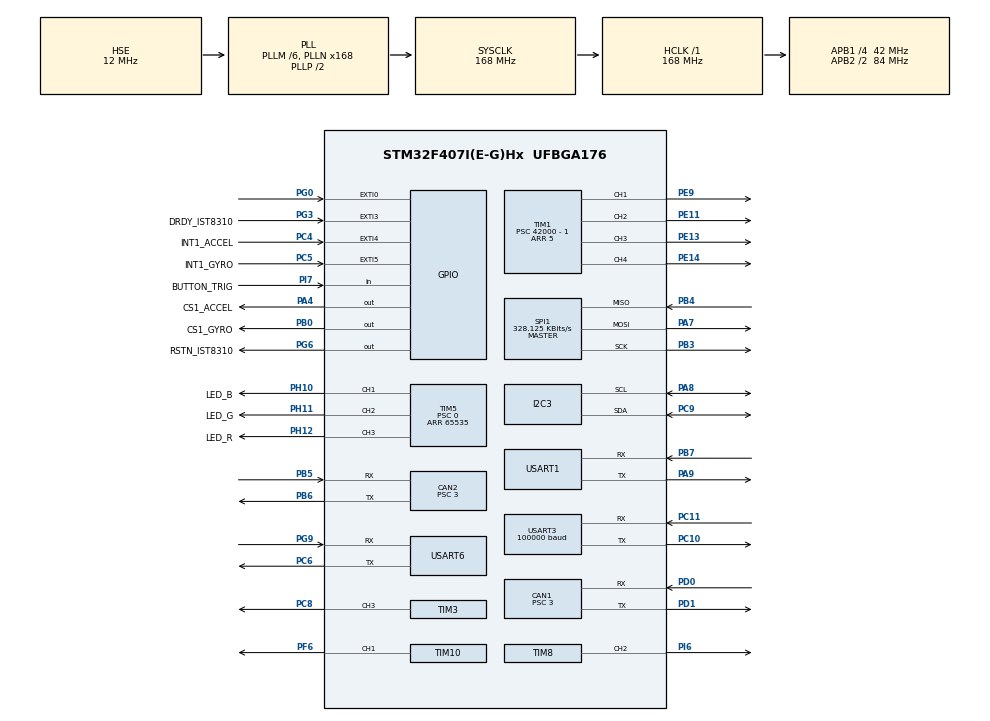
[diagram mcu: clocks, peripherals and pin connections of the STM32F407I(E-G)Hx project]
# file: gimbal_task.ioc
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CAN1.BS1=CAN_BS1_10TQ
CAN1.BS2=CAN_BS2_3TQ
CAN1.CalculateBaudRate=1000000
CAN1.CalculateTimeQuantum=71.42857142857143
CAN1.Prescaler=3
CAN2.BS1=CAN_BS1_10TQ
CAN2.BS2=CAN_BS2_3TQ
CAN2.CalculateBaudRate=1000000
CAN2.CalculateTimeQuantum=71.42857142857143
CAN2.Prescaler=3
Dma.Request0=SPI1_RX
Dma.Request1=SPI1_TX
Dma.Request2=USART3_RX
Dma.Request3=USART6_TX
Dma.SPI1_RX.0.Direction=DMA_PERIPH_TO_MEMORY
Dma.SPI1_RX.0.FIFOMode=DMA_FIFOMODE_DISABLE
Dma.SPI1_RX.0.Instance=DMA2_Stream2
Dma.SPI1_RX.0.MemDataAlignment=DMA_MDATAALIGN_BYTE
Dma.SPI1_RX.0.MemInc=DMA_MINC_ENABLE
Dma.SPI1_RX.0.Mode=DMA_NORMAL
Dma.SPI1_RX.0.PeriphDataAlignment=DMA_PDATAALIGN_BYTE
Dma.SPI1_RX.0.PeriphInc=DMA_PINC_DISABLE
Dma.SPI1_RX.0.Priority=DMA_PRIORITY_VERY_HIGH
Dma.SPI1_TX.1.Direction=DMA_MEMORY_TO_PERIPH
Dma.SPI1_TX.1.FIFOMode=DMA_FIFOMODE_DISABLE
Dma.SPI1_TX.1.Instance=DMA2_Stream3
Dma.SPI1_TX.1.MemDataAlignment=DMA_MDATAALIGN_BYTE
Dma.SPI1_TX.1.MemInc=DMA_MINC_ENABLE
Dma.SPI1_TX.1.Mode=DMA_NORMAL
Dma.SPI1_TX.1.PeriphDataAlignment=DMA_PDATAALIGN_BYTE
Dma.SPI1_TX.1.PeriphInc=DMA_PINC_DISABLE
Dma.SPI1_TX.1.Priority=DMA_PRIORITY_HIGH
Dma.USART3_RX.2.Direction=DMA_PERIPH_TO_MEMORY
Dma.USART3_RX.2.FIFOMode=DMA_FIFOMODE_DISABLE
Dma.USART3_RX.2.Instance=DMA1_Stream1
Dma.USART3_RX.2.MemDataAlignment=DMA_MDATAALIGN_BYTE
Dma.USART3_RX.2.MemInc=DMA_MINC_ENABLE
Dma.USART3_RX.2.Mode=DMA_NORMAL
Dma.USART3_RX.2.PeriphDataAlignment=DMA_PDATAALIGN_BYTE
Dma.USART3_RX.2.PeriphInc=DMA_PINC_DISABLE
Dma.USART3_RX.2.Priority=DMA_PRIORITY_HIGH
Dma.USART6_TX.3.Direction=DMA_MEMORY_TO_PERIPH
Dma.USART6_TX.3.FIFOMode=DMA_FIFOMODE_ENABLE
Dma.USART6_TX.3.FIFOThreshold=DMA_FIFO_THRESHOLD_FULL
Dma.USART6_TX.3.Instance=DMA2_Stream6
Dma.USART6_TX.3.MemBurst=DMA_MBURST_SINGLE
Dma.USART6_TX.3.MemDataAlignment=DMA_MDATAALIGN_BYTE
Dma.USART6_TX.3.MemInc=DMA_MINC_ENABLE
Dma.USART6_TX.3.Mode=DMA_NORMAL
Dma.USART6_TX.3.PeriphBurst=DMA_PBURST_SINGLE
Dma.USART6_TX.3.PeriphDataAlignment=DMA_PDATAALIGN_BYTE
Dma.USART6_TX.3.PeriphInc=DMA_PINC_DISABLE
Dma.USART6_TX.3.Priority=DMA_PRIORITY_LOW
FREERTOS.INCLUDE_eTaskGetState=1
FREERTOS.INCLUDE_pcTaskGetTaskName=1
FREERTOS.INCLUDE_uxTaskGetStackHighWaterMark=1
FREERTOS.INCLUDE_vTaskCleanUpResources=1
FREERTOS.INCLUDE_vTaskDelayUntil=1
FREERTOS.INCLUDE_xEventGroupSetBitFromISR=1
FREERTOS.INCLUDE_xQueueGetMutexHolder=1
FREERTOS.INCLUDE_xSemaphoreGetMutexHolder=1
FREERTOS.INCLUDE_xTaskAbortDelay=1
FREERTOS.INCLUDE_xTaskGetCurrentTaskHandle=1
FREERTOS.INCLUDE_xTaskGetHandle=1
FREERTOS.INCLUDE_xTimerPendFunctionCall=1
FREERTOS.Tasks01=test,0,128,test_task,As weak,NULL,Dynamic,NULL,NULL;HeartBeat,-2,128,Odrive_HeatBeat,Default,NULL,Dynamic,NULL,NULL
FREERTOS.configTOTAL_HEAP_SIZE=24576
I2C3.I2C_Mode=I2C_Fast
Mcu.Family=STM32F4
Mcu.Name=STM32F407I(E-G)Hx
Mcu.Package=UFBGA176
NVIC.CAN1_RX0_IRQn=true\:6\:0\:true\:false\:true\:true\:true\:true\:true
NVIC.CAN2_RX0_IRQn=true\:6\:0\:true\:false\:true\:true\:true\:true\:true
NVIC.DMA1_Stream1_IRQn=true\:5\:0\:true\:false\:false\:true\:false\:false\:true
NVIC.DMA2_Stream2_IRQn=true\:5\:0\:true\:false\:false\:true\:false\:true\:true
NVIC.DMA2_Stream3_IRQn=true\:5\:0\:true\:false\:false\:true\:false\:true\:true
NVIC.DMA2_Stream6_IRQn=true\:5\:0\:false\:false\:true\:true\:false\:true\:true
NVIC.EXTI0_IRQn=true\:6\:0\:true\:false\:true\:true\:true\:true\:true
NVIC.EXTI3_IRQn=true\:5\:0\:true\:false\:true\:true\:true\:true\:true
NVIC.EXTI4_IRQn=true\:5\:0\:true\:false\:true\:true\:true\:true\:true
NVIC.EXTI9_5_IRQn=true\:5\:0\:true\:false\:true\:true\:true\:true\:true
NVIC.PriorityGroup=NVIC_PRIORITYGROUP_4
NVIC.TIM1_UP_TIM10_IRQn=true\:5\:0\:false\:false\:true\:true\:true\:true\:true
NVIC.TIM7_IRQn=true\:5\:0\:false\:false\:true\:true\:true\:true\:true
NVIC.USART3_IRQn=true\:4\:0\:true\:false\:false\:false\:true\:true\:true
PA13.Mode=Serial_Wire
PA13.Signal=SYS_JTMS-SWDIO
PA14.Mode=Serial_Wire
PA14.Signal=SYS_JTCK-SWCLK
PA4.GPIO_Label=CS1_ACCEL
PA4.GPIO_PuPd=GPIO_PULLUP
PA4.GPIO_Speed=GPIO_SPEED_FREQ_HIGH
PA4.PinState=GPIO_PIN_SET
PA4.Signal=GPIO_Output
PA7.GPIO_PuPd=GPIO_PULLUP
PA7.Mode=Full_Duplex_Master
PA7.Signal=SPI1_MOSI
PA8.GPIO_Pu=GPIO_PULLUP
PA8.Mode=I2C
PA8.Signal=I2C3_SCL
PA9.Mode=Asynchronous
PA9.Signal=USART1_TX
PB0.GPIO_Label=CS1_GYRO
PB0.GPIO_PuPd=GPIO_PULLUP
PB0.GPIO_Speed=GPIO_SPEED_FREQ_HIGH
PB0.PinState=GPIO_PIN_SET
PB0.Signal=GPIO_Output
PB3.GPIO_PuPd=GPIO_PULLUP
PB3.Mode=Full_Duplex_Master
PB3.Signal=SPI1_SCK
PB4.GPIO_PuPd=GPIO_PULLUP
PB4.Mode=Full_Duplex_Master
PB4.Signal=SPI1_MISO
PB5.Mode=CAN_Activate
PB5.Signal=CAN2_RX
PB6.Mode=CAN_Activate
PB6.Signal=CAN2_TX
PB7.Mode=Asynchronous
PB7.Signal=USART1_RX
PC10.Mode=Asynchronous
PC10.Signal=USART3_TX
PC11.Mode=Asynchronous
PC11.Signal=USART3_RX
PC4.GPIO_Label=INT1_ACCEL
PC4.GPIO_ModeDefaultEXTI=GPIO_MODE_IT_FALLING
PC4.GPIO_PuPd=GPIO_PULLUP
PC4.Signal=GPXTI4
PC5.GPIO_Label=INT1_GYRO
PC5.GPIO_ModeDefaultEXTI=GPIO_MODE_IT_FALLING
PC5.GPIO_PuPd=GPIO_PULLUP
PC5.Signal=GPXTI5
PC6.Mode=Asynchronous
PC6.Signal=USART6_TX
PC8.GPIO_PuPd=GPIO_PULLUP
PC8.GPIO_Speed=GPIO_SPEED_FREQ_HIGH
PC8.Signal=S_TIM3_CH3
PC9.GPIO_Pu=GPIO_PULLUP
PC9.Mode=I2C
PC9.Signal=I2C3_SDA
PD0.Mode=CAN_Activate
PD0.Signal=CAN1_RX
PD1.Mode=CAN_Activate
PD1.Signal=CAN1_TX
PD14.GPIO_Speed=GPIO_SPEED_FREQ_HIGH
PD14.Signal=S_TIM4_CH3
PE11.GPIO_PuPd=GPIO_PULLUP
PE11.GPIO_Speed=GPIO_SPEED_FREQ_HIGH
PE11.Signal=S_TIM1_CH2
PE13.GPIO_PuPd=GPIO_PULLUP
PE13.GPIO_Speed=GPIO_SPEED_FREQ_HIGH
PE13.Signal=S_TIM1_CH3
PE14.GPIO_PuPd=GPIO_PULLUP
PE14.GPIO_Speed=GPIO_SPEED_FREQ_HIGH
PE14.Signal=S_TIM1_CH4
PE9.GPIO_PuPd=GPIO_PULLUP
PE9.GPIO_Speed=GPIO_SPEED_FREQ_HIGH
PE9.Signal=S_TIM1_CH1
PF6.GPIO_PuPd=GPIO_PULLUP
PF6.GPIO_Speed=GPIO_SPEED_FREQ_HIGH
PF6.Signal=S_TIM10_CH1
PG0.GPIO_ModeDefaultEXTI=GPIO_MODE_IT_FALLING
PG0.GPIO_PuPd=GPIO_PULLUP
PG0.Signal=GPXTI0
PG3.GPIO_Label=DRDY_IST8310
PG3.GPIO_ModeDefaultEXTI=GPIO_MODE_IT_FALLING
PG3.GPIO_PuPd=GPIO_PULLUP
PG3.Signal=GPXTI3
PG6.GPIO_Label=RSTN_IST8310
PG6.GPIO_PuPd=GPIO_PULLUP
PG6.GPIO_Speed=GPIO_SPEED_FREQ_MEDIUM
PG6.PinState=GPIO_PIN_SET
PG6.Signal=GPIO_Output
PG9.Mode=Asynchronous
PG9.Signal=USART6_RX
PH0-OSC_IN.Mode=HSE-External-Oscillator
PH0-OSC_IN.Signal=RCC_OSC_IN
PH1-OSC_OUT.Mode=HSE-External-Oscillator
PH1-OSC_OUT.Signal=RCC_OSC_OUT
PH10.GPIO_Label=LED_B
PH10.GPIO_PuPd=GPIO_PULLUP
PH10.GPIO_Speed=GPIO_SPEED_FREQ_HIGH
PH10.Signal=S_TIM5_CH1
PH11.GPIO_Label=LED_G
PH11.GPIO_PuPd=GPIO_PULLUP
PH11.GPIO_Speed=GPIO_SPEED_FREQ_HIGH
PH11.Signal=S_TIM5_CH2
PH12.GPIO_Label=LED_R
PH12.GPIO_PuPd=GPIO_PULLUP
PH12.GPIO_Speed=GPIO_SPEED_FREQ_HIGH
PH12.Signal=S_TIM5_CH3
PI6.GPIO_PuPd=GPIO_PULLUP
PI6.GPIO_Speed=GPIO_SPEED_FREQ_HIGH
PI6.Signal=S_TIM8_CH2
PI7.GPIO_Label=BUTTON_TRIG
PI7.GPIO_PuPd=GPIO_PULLUP
PI7.Signal=GPIO_Input
ProjectManager.HeapSize=0x2000
ProjectManager.StackSize=0x2000
ProjectManager.TargetToolchain=MDK-ARM V5
RCC.48MHZClocksFreq_Value=48000000
RCC.AHBFreq_Value=168000000
RCC.APB1CLKDivider=RCC_HCLK_DIV4
RCC.APB1Freq_Value=42000000
RCC.APB1TimFreq_Value=84000000
RCC.APB2CLKDivider=RCC_HCLK_DIV2
RCC.APB2Freq_Value=84000000
RCC.APB2TimFreq_Value=168000000
RCC.CortexFreq_Value=168000000
RCC.HCLKFreq_Value=168000000
RCC.HSE_VALUE=12000000
RCC.HSI_VALUE=16000000
RCC.LSE_VALUE=32768
RCC.PLLM=6
RCC.PLLN=168
RCC.PLLQ=7
RCC.PLLSourceVirtual=RCC_PLLSOURCE_HSE
RCC.RCC_RTC_Clock_SourceVirtual=RCC_RTCCLKSOURCE_HSE_DIV30
RCC.RCC_RTC_Clock_Source_FROM_HSE=RCC_RTCCLKSOURCE_HSE_DIV30
RCC.SYSCLKFreq_VALUE=168000000
RCC.SYSCLKSource=RCC_SYSCLKSOURCE_PLLCLK
RCC.VCOOutputFreq_Value=336000000
RTC.AsynchPrediv=124
RTC.SynchPrediv=3199
SH.S_TIM10_CH1.0=TIM10_CH1,PWM Generation1 CH1
SH.S_TIM1_CH1.0=TIM1_CH1,PWM Generation1 CH1
SH.S_TIM1_CH2.0=TIM1_CH2,PWM Generation2 CH2
SH.S_TIM1_CH3.0=TIM1_CH3,PWM Generation3 CH3
SH.S_TIM1_CH4.0=TIM1_CH4,PWM Generation4 CH4
SH.S_TIM3_CH3.0=TIM3_CH3,PWM Generation3 CH3
SH.S_TIM4_CH3.0=TIM4_CH3
SH.S_TIM5_CH1.0=TIM5_CH1,PWM Generation1 CH1
SH.S_TIM5_CH2.0=TIM5_CH2,PWM Generation2 CH2
SH.S_TIM5_CH3.0=TIM5_CH3,PWM Generation3 CH3
SH.S_TIM8_CH2.0=TIM8_CH2,PWM Generation2 CH2
SPI1.BaudRatePrescaler=SPI_BAUDRATEPRESCALER_256
SPI1.CLKPhase=SPI_PHASE_2EDGE
SPI1.CLKPolarity=SPI_POLARITY_HIGH
SPI1.CalculateBaudRate=328.125 KBits/s
SPI1.Direction=SPI_DIRECTION_2LINES
SPI1.Mode=SPI_MODE_MASTER
SPI1.VirtualType=VM_MASTER
TIM1.Channel-PWM\ Generation1\ CH1=TIM_CHANNEL_1
TIM1.Channel-PWM\ Generation2\ CH2=TIM_CHANNEL_2
TIM1.Channel-PWM\ Generation3\ CH3=TIM_CHANNEL_3
TIM1.Channel-PWM\ Generation4\ CH4=TIM_CHANNEL_4
TIM1.ClockDivision=TIM_CLOCKDIVISION_DIV4
TIM1.Period=5
TIM1.Prescaler=42000 - 1
TIM1.Pulse-PWM\ Generation1\ CH1=1000
TIM1.Pulse-PWM\ Generation2\ CH2=1000
TIM1.Pulse-PWM\ Generation3\ CH3=1000
TIM1.Pulse-PWM\ Generation4\ CH4=1000
TIM10.Channel=TIM_CHANNEL_1
TIM10.Period=4999
TIM3.Channel-PWM\ Generation3\ CH3=TIM_CHANNEL_3
TIM3.Period=8399
TIM4.Period=65535
TIM4.Prescaler=167
TIM5.Channel-PWM\ Generation1\ CH1=TIM_CHANNEL_1
TIM5.Channel-PWM\ Generation2\ CH2=TIM_CHANNEL_2
TIM5.Channel-PWM\ Generation3\ CH3=TIM_CHANNEL_3
TIM5.Period=65535
TIM5.Prescaler=0
TIM7.Period=1000-1
TIM7.Prescaler=84-1
TIM8.Channel-PWM\ Generation1\ CH1=TIM_CHANNEL_1
TIM8.Channel-PWM\ Generation2\ CH2=TIM_CHANNEL_2
TIM8.Period=19999
TIM8.Prescaler=167
TIM8.Pulse-PWM\ Generation1\ CH1=1000
TIM8.Pulse-PWM\ Generation2\ CH2=1000
USART1.VirtualMode=VM_ASYNC
USART3.BaudRate=100000
USART3.Parity=PARITY_EVEN
USART3.VirtualMode=VM_ASYNC
USART6.VirtualMode=VM_ASYNC
VP_FREERTOS_VS_CMSIS_V1.Mode=CMSIS_V1
VP_RTC_VS_RTC_Activate.Mode=RTC_Enabled
VP_TIM10_VS_ClockSourceINT.Mode=Enable_Timer
VP_TIM1_VS_ClockSourceINT.Mode=Internal
VP_TIM3_VS_ClockSourceINT.Mode=Internal
VP_TIM4_VS_ClockSourceINT.Mode=Internal
VP_TIM5_VS_ClockSourceINT.Mode=Internal
VP_TIM7_VS_ClockSourceINT.Mode=Enable_Timer
VP_TIM8_VS_ClockSourceINT.Mode=Internal
board=custom

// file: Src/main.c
/* USER CODE BEGIN Header */
/**
 ******************************************************************************
 * @file           : main.c
 * @brief          : Main program body
 ******************************************************************************
 * @attention
 *
 * <h2><center>&copy; Copyright (c) 2019 STMicroelectronics.
 * All rights reserved.</center></h2>
 *
 * This software component is licensed by ST under Ultimate Liberty license
 * SLA0044, the "License"; You may not use this file except in compliance with
 * the License. You may obtain a copy of the License at:
 *                             www.st.com/SLA0044
 *
 ******************************************************************************
 */
/* USER CODE END Header */
#include "main.h"
#include "cmsis_os.h"
#include "can.h"
#include "dma.h"
#include "i2c.h"
#include "rtc.h"
#include "spi.h"
#include "tim.h"
#include "usart.h"
#include "gpio.h"

/* USER CODE BEGIN Includes */
#include "bsp_delay.h"
#include "bsp_can.h"
#include "remote_control.h"
#include "calibrate_task.h"
#include "detect_task.h"
#include "gimbal_task.h"
#include "INS_task.h"
#include "led_flow_task.h"
#include "arm_math.h"
#include "CAN_receive.h"
#include "motor.h"

#include "math.h"
// #include "motor.h"

#include <stdio.h>
/* USER CODE END Includes */

/* USER CODE BEGIN PM */
extern void aRGB_led_show(uint32_t aRGB);
extern arm_pid_instance_f32 S_pos, S_vel, S_ang;

/* USER CODE END PM */

/* USER CODE BEGIN PV */
#define MAX_I_OUT  10000

arm_pid_instance_f32 angle_pid = {
  .Kp = 15.0,
  .Ki = 0.001,
  .Kd = 10.0
};
arm_pid_instance_f32 speed_pid = {
  .Kp = 10.0,
  .Ki = 0.001,
  .Kd = 0.5
};

void speed_control(Motor * motor){
	float speed_err;
	int I_out;

	speed_err = motor->target_speed - motor->speed;
	I_out = arm_pid_f32(&speed_pid, speed_err);
	I_out = (I_out > 10000) ? 10000 : (I_out < -10000) ? -10000 : I_out;
	CAN_cmd_gimbal(I_out, 0, 0, 0);
}

void angle_control(Motor * motor){
  float angle_err;
  float speed_out;
  float speed_err;
  int32_t I_out;

  angle_err = (motor->target_angle - motor->absolute_angle);
  speed_out = arm_pid_f32(&angle_pid, angle_err); // 输出期望速度

  speed_out = (speed_out > 1300) ? 1300 : (speed_out < -1300) ? -1300 : speed_out;

  speed_err = speed_out - motor->speed;
  I_out = (int32_t)(arm_pid_f32(&speed_pid,speed_err));
	// I_out = (I_out >= 0.0f ? 1 : -1) * 3500.0f * sqrtf(fabs(I_out / 3500.0f));
  I_out = (I_out > MAX_I_OUT) ? MAX_I_OUT : (I_out < -MAX_I_OUT) ? -MAX_I_OUT : I_out;

	CAN_cmd_gimbal(I_out, 0, 0, 0);
}

Motor Catcher = {
  .Base_Angle= 0,
  .Tar_Angle = 160
};
static uint8_t is_catcher_Init = 0;
static float last_angle;

extern void yuntai_pid(void);
extern float angle_in_deg[];
static uint8_t is_yuntai_ready_for_work = 0;
void HAL_TIM_PeriodElapsedCallback(TIM_HandleTypeDef * htim)
{
  /* Prevent unused argument(s) compilation warning */
  UNUSED(htim);
  if (htim->Instance == htim7.Instance)
  {
    /* 云台3508位控部分 */
    if (is_yuntai_ready_for_work == 0 && angle_in_deg[2] < -2.f){
      is_yuntai_ready_for_work = 1;
    }else if(is_yuntai_ready_for_work == 1){
      yuntai_pid();
    }

    /* 推杆2006位控部分 */
		if(is_catcher_Init != 1){
			static uint16_t i = 0;
			Catcher.target_speed = -1000;
			speed_control(&Catcher);
			if(i < 4000)
			{
				i++;
			}
			else
			{
				if(fabsf(Catcher.speed) < 10.f){
          is_catcher_Init = 1;
          Catcher.target_speed = 0;
          Catcher.Base_Angle = Catcher.absolute_angle;
				}
			}
		}else {
			Catcher.target_angle = Catcher.Tar_Angle * 36 + Catcher.Base_Angle; // 小齿轮分度圆直径
			angle_control(&Catcher);
		}
  }
}

union odrive_speed_cmd
{
  uint8_t data[8];
  float output[2];
};
/* USER CODE END PV */

void SystemClock_Config(void);
void MX_FREERTOS_Init(void);

/* USER CODE BEGIN 0 */
extern void orive_set_speed(int speed);
/* USER CODE END 0 */

int main(void)
{

  /* MCU Configuration--------------------------------------------------------*/

  /* Reset of all peripherals, Initializes the Flash interface and the Systick. */
  HAL_Init();

  /* Configure the system clock */
  SystemClock_Config();

  /* Initialize all configured peripherals */
  MX_GPIO_Init();
  MX_DMA_Init();
  MX_CAN1_Init();
  MX_CAN2_Init();
  MX_SPI1_Init();
  MX_TIM4_Init();
  MX_TIM5_Init();
  MX_USART3_UART_Init();
  MX_TIM8_Init();
  MX_I2C3_Init();
  MX_RTC_Init();
  MX_TIM1_Init();
  MX_TIM3_Init();
  MX_TIM10_Init();
  MX_TIM7_Init();
  MX_USART6_UART_Init();
  MX_USART1_UART_Init();
  /* USER CODE BEGIN 2 */
  can_filter_init();
  delay_init();
  cali_param_init();
  remote_control_init();
  arm_pid_init_f32(&S_pos, 1);
  arm_pid_init_f32(&S_vel, 1);
  arm_pid_init_f32(&S_ang, 1);

  arm_pid_init_f32(&angle_pid, 1);
  arm_pid_init_f32(&speed_pid, 1);
  // aRGB_led_show(0xFF00FF00);
  HAL_Delay(200);
  HAL_TIM_Base_Start_IT(&htim7);

	// HAL_TIM_Base_Start_IT(&htim1);
//	HAL_TIM_RegisterCallback(&htim1, HAL_TIM_PERIOD_ELAPSED_CB_ID, Yuntai_CatcherCallBack);

  // orive_set_speed(20);
  // HAL_UART_Transmit(&huart3, (uint8_t *)"hello\r\n", 7, 100);
  /* USER CODE END 2 */

  /* Call init function for freertos objects (in freertos.c) */
  MX_FREERTOS_Init();

  /* Start scheduler */
  osKernelStart();

  /* We should never get here as control is now taken by the scheduler */
  /* Infinite loop */
  while (1)
  {

  }
}

void SystemClock_Config(void)
{
  RCC_OscInitTypeDef RCC_OscInitStruct = {0};
  RCC_ClkInitTypeDef RCC_ClkInitStruct = {0};

  /** Configure the main internal regulator output voltage
  */
  __HAL_RCC_PWR_CLK_ENABLE();
  __HAL_PWR_VOLTAGESCALING_CONFIG(PWR_REGULATOR_VOLTAGE_SCALE1);

  /** Initializes the RCC Oscillators according to the specified parameters
  * in the RCC_OscInitTypeDef structure.
  */
  RCC_OscInitStruct.OscillatorType = RCC_OSCILLATORTYPE_HSE;
  RCC_OscInitStruct.HSEState = RCC_HSE_ON;
  RCC_OscInitStruct.PLL.PLLState = RCC_PLL_ON;
  RCC_OscInitStruct.PLL.PLLSource = RCC_PLLSOURCE_HSE;
  RCC_OscInitStruct.PLL.PLLM = 6;
  RCC_OscInitStruct.PLL.PLLN = 168;
  RCC_OscInitStruct.PLL.PLLP = RCC_PLLP_DIV2;
  RCC_OscInitStruct.PLL.PLLQ = 7;
  if (HAL_RCC_OscConfig(&RCC_OscInitStruct) != HAL_OK)
  {
    Error_Handler();
  }

  /** Initializes the CPU, AHB and APB buses clocks
  */
  RCC_ClkInitStruct.ClockType = RCC_CLOCKTYPE_HCLK|RCC_CLOCKTYPE_SYSCLK
                              |RCC_CLOCKTYPE_PCLK1|RCC_CLOCKTYPE_PCLK2;
  RCC_ClkInitStruct.SYSCLKSource = RCC_SYSCLKSOURCE_PLLCLK;
  RCC_ClkInitStruct.AHBCLKDivider = RCC_SYSCLK_DIV1;
  RCC_ClkInitStruct.APB1CLKDivider = RCC_HCLK_DIV4;
  RCC_ClkInitStruct.APB2CLKDivider = RCC_HCLK_DIV2;

  if (HAL_RCC_ClockConfig(&RCC_ClkInitStruct, FLASH_LATENCY_5) != HAL_OK)
  {
    Error_Handler();
  }
}

void Error_Handler(void)
{
}

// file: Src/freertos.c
/* USER CODE BEGIN Header */
/**
  ******************************************************************************
  * File Name          : freertos.c
  * Description        : Code for freertos applications
  ******************************************************************************
  * @attention
  *
  * <h2><center>&copy; Copyright (c) 2019 STMicroelectronics.
  * All rights reserved.</center></h2>
  *
  * This software component is licensed by ST under Ultimate Liberty license
  * SLA0044, the "License"; You may not use this file except in compliance with
  * the License. You may obtain a copy of the License at:
  *                             www.st.com/SLA0044
  *
  ******************************************************************************
  */
/* USER CODE END Header */

#include "FreeRTOS.h"
#include "task.h"
#include "main.h"
#include "cmsis_os.h"

/* USER CODE BEGIN Includes */

#include "calibrate_task.h"
#include "detect_task.h"
#include "gimbal_task.h"
#include "INS_task.h"
#include "led_flow_task.h"

#include <math.h>
#include "arm_math.h"
#include "odrive.h"
/* USER CODE END Includes */

/* USER CODE BEGIN PTD */

osThreadId calibrate_tast_handle;
osThreadId detect_handle;
osThreadId gimbalTaskHandle;
osThreadId imuTaskHandle;
osThreadId led_RGB_flow_handle;
osThreadId CylinderControlHandle;

/* USER CODE END PTD */

osThreadId testHandle;
osThreadId HeartBeatHandle;

void test_task(void const * argument);
void Odrive_HeatBeat(void const * argument);

void MX_FREERTOS_Init(void); /* (MISRA C 2004 rule 8.1) */

/* GetIdleTaskMemory prototype (linked to static allocation support) */
void vApplicationGetIdleTaskMemory( StaticTask_t **ppxIdleTaskTCBBuffer, StackType_t **ppxIdleTaskStackBuffer, uint32_t *pulIdleTaskStackSize );

/* GetTimerTaskMemory prototype (linked to static allocation support) */
void vApplicationGetTimerTaskMemory( StaticTask_t **ppxTimerTaskTCBBuffer, StackType_t **ppxTimerTaskStackBuffer, uint32_t *pulTimerTaskStackSize );

/* USER CODE BEGIN GET_IDLE_TASK_MEMORY */
static StaticTask_t xIdleTaskTCBBuffer;
static StackType_t xIdleStack[configMINIMAL_STACK_SIZE];

void vApplicationGetIdleTaskMemory( StaticTask_t **ppxIdleTaskTCBBuffer, StackType_t **ppxIdleTaskStackBuffer, uint32_t *pulIdleTaskStackSize )
{
  *ppxIdleTaskTCBBuffer = &xIdleTaskTCBBuffer;
  *ppxIdleTaskStackBuffer = &xIdleStack[0];
  *pulIdleTaskStackSize = configMINIMAL_STACK_SIZE;
  /* place for user code */
}

/* USER CODE END GET_IDLE_TASK_MEMORY */

/* USER CODE BEGIN GET_TIMER_TASK_MEMORY */
static StaticTask_t xTimerTaskTCBBuffer;
static StackType_t xTimerStack[configTIMER_TASK_STACK_DEPTH];

void vApplicationGetTimerTaskMemory( StaticTask_t **ppxTimerTaskTCBBuffer, StackType_t **ppxTimerTaskStackBuffer, uint32_t *pulTimerTaskStackSize )
{
  *ppxTimerTaskTCBBuffer = &xTimerTaskTCBBuffer;
  *ppxTimerTaskStackBuffer = &xTimerStack[0];
  *pulTimerTaskStackSize = configTIMER_TASK_STACK_DEPTH;
  /* place for user code */
}
/* USER CODE END GET_TIMER_TASK_MEMORY */

void MX_FREERTOS_Init(void) {

  /* Create the thread(s) */
  /* definition and creation of test */
  osThreadDef(test, test_task, osPriorityNormal, 0, 128);
  testHandle = osThreadCreate(osThread(test), NULL);

  /* definition and creation of HeartBeat */
  osThreadDef(HeartBeat, Odrive_HeatBeat, osPriorityLow, 0, 128);
  HeartBeatHandle = osThreadCreate(osThread(HeartBeat), NULL);

  /* USER CODE BEGIN RTOS_THREADS */
  /* add threads, ... */
    osThreadDef(cali, calibrate_task, osPriorityNormal, 0, 512);
    calibrate_tast_handle = osThreadCreate(osThread(cali), NULL);

    // osThreadDef(DETECT, detect_task, osPriorityNormal, 0, 256);
    // detect_handle = osThreadCreate(osThread(DETECT), NULL);

    // osThreadDef(gimbalTask, gimbal_task, osPriorityHigh, 0, 512);
    // gimbalTaskHandle = osThreadCreate(osThread(gimbalTask), NULL);

    osThreadDef(imuTask, INS_task, osPriorityRealtime, 0, 1024);
    imuTaskHandle = osThreadCreate(osThread(imuTask), NULL);

    // osThreadDef(led, led_RGB_flow_task, osPriorityNormal, 0, 256);
    // led_RGB_flow_handle = osThreadCreate(osThread(led), NULL);

  /* USER CODE END RTOS_THREADS */

}

/* USER CODE BEGIN Header_test_task */
/**
  * @brief  Function implementing the test thread.
  * @param  argument: Not used
  * @retval None
  */

uint8_t Odrive_Motor_Error = 0;

volatile float shoot_speed;

extern void orive_set_speed(int speed);
extern UART_HandleTypeDef huart6;
extern volatile float target_angle;
void aRGB_led_show(uint32_t aRGB);

extern OdriveAxisSetState_t odrive_set_axis0;
extern OdriveAxisSetState_t odrive_set_axis1;

/* USER CODE END Header_test_task */
void test_task(void const * argument)
{
  /* USER CODE BEGIN test_task */
  // osDelay(12000);
	// target_angle = 27.09;
	// target_angle = 25.33;
  // int odrv_speed = 0;

  /* Infinite loop */
  for(;;)
  {
    osDelay(100);
    orive_set_speed(shoot_speed);

		static uint8_t rgb = 0;
		if(rgb == 0)
		{
			aRGB_led_show(0xFF00FF00);
			rgb = 1;
		}
		else if(rgb == 1)
		{
			aRGB_led_show(0xFF000000);
			rgb = 0;
		}
    // Board_Heartbeat(&hcan2, target_angle, shoot_speed);
    // Board_Heartbeat(&hcan2, fabsf(angle_in_deg[2]), odrive_get_axis0.encoder_vel_estimate, odrive_get_axis1.encoder_vel_estimate); // angle_in_deg->实时角度�??
  }
  /* USER CODE END test_task */
}

/* USER CODE BEGIN Header_Odrive_HeatBeat */
/**
* @brief Function implementing the HeartBeat thread.
* @param argument: Not used
* @retval None
*/

extern float angle_in_deg[3];
extern OdriveAxisGetState_t odrive_get_axis0;
extern OdriveAxisGetState_t odrive_get_axis1;

extern OdriveAxisSetState_t odrive_set_axis0;
extern OdriveAxisSetState_t odrive_set_axis1;

extern State_t odrive_axis0_state;
extern State_t odrive_axis1_state;

#define INSTALL_OFFSET_ANGLE 1.1f
HeartBeat_Box_T HeartBeat_Box;

extern void CAN_Send_Message(HeartBeat_Box_T * const pHeartBeat);

/* USER CODE END Header_Odrive_HeatBeat */
void Odrive_HeatBeat(void const * argument)
{
  /* USER CODE BEGIN Odrive_HeatBeat */
  /* Infinite loop */
  for(;;)
  {
    odrv_write_msg(AXIS_0, MSG_GET_ENCODER_ESTIMATES);
    odrv_write_msg(AXIS_1, MSG_GET_ENCODER_ESTIMATES);
    osDelay(20);

    // 检查电机错误
    odrv_write_msg(AXIS_0, MSG_GET_MOTOR_ERROR);
    odrv_write_msg(AXIS_1, MSG_GET_MOTOR_ERROR);

    if((odrive_get_axis0.motor_error !=  0) || (odrive_get_axis1.motor_error !=  0))
    {
			shoot_speed = 10;
			Odrive_Motor_Error = 1;

      odrv_write_msg(AXIS_0, MSG_CLEAR_ERRORS);
      odrv_write_msg(AXIS_1, MSG_CLEAR_ERRORS);

			odrv_write_msg(AXIS_0, MSG_RESET_ODRIVE);
			odrv_write_msg(AXIS_1, MSG_RESET_ODRIVE);
			osDelay(4000);

			Odrive_Motor_Error = 0;
    }

    HeartBeat_Box.value.angle = -angle_in_deg[2] - INSTALL_OFFSET_ANGLE;
    HeartBeat_Box.value.average_speed = ( - odrive_get_axis0.encoder_vel_estimate + \
																				    odrive_get_axis1.encoder_vel_estimate) / 2;

		CAN_Send_Message(&HeartBeat_Box);
  }
  /* USER CODE END Odrive_HeatBeat */
}
